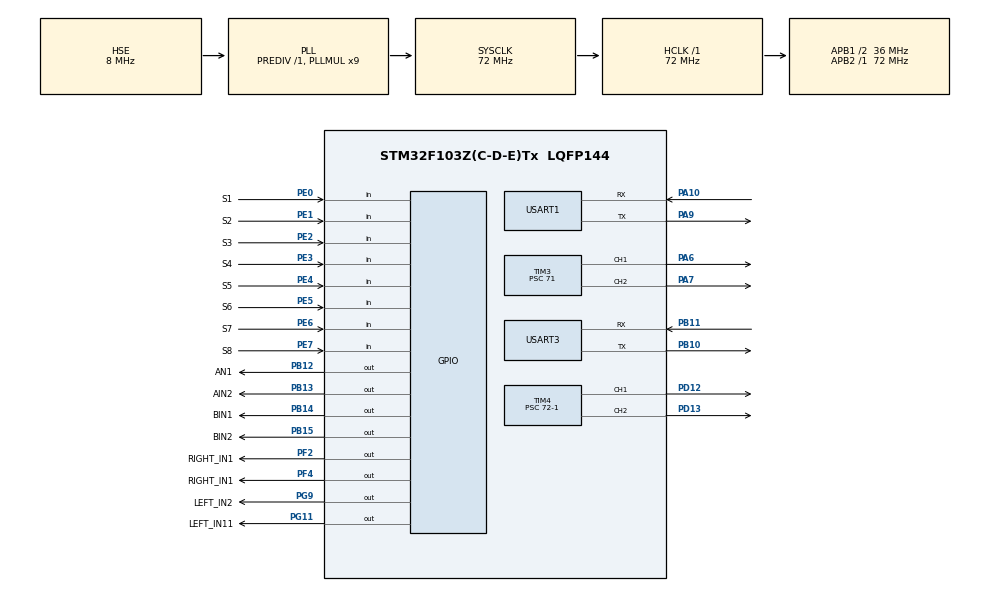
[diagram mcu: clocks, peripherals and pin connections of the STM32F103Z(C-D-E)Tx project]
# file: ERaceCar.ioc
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Dma.Request0=USART1_RX
Dma.Request1=USART1_TX
Dma.Request2=USART3_RX
Dma.USART1_RX.0.Direction=DMA_PERIPH_TO_MEMORY
Dma.USART1_RX.0.Instance=DMA1_Channel5
Dma.USART1_RX.0.MemDataAlignment=DMA_MDATAALIGN_BYTE
Dma.USART1_RX.0.MemInc=DMA_MINC_ENABLE
Dma.USART1_RX.0.Mode=DMA_NORMAL
Dma.USART1_RX.0.PeriphDataAlignment=DMA_PDATAALIGN_BYTE
Dma.USART1_RX.0.PeriphInc=DMA_PINC_DISABLE
Dma.USART1_RX.0.Priority=DMA_PRIORITY_LOW
Dma.USART1_TX.1.Direction=DMA_MEMORY_TO_PERIPH
Dma.USART1_TX.1.Instance=DMA1_Channel4
Dma.USART1_TX.1.MemDataAlignment=DMA_MDATAALIGN_BYTE
Dma.USART1_TX.1.MemInc=DMA_MINC_ENABLE
Dma.USART1_TX.1.Mode=DMA_NORMAL
Dma.USART1_TX.1.PeriphDataAlignment=DMA_PDATAALIGN_BYTE
Dma.USART1_TX.1.PeriphInc=DMA_PINC_DISABLE
Dma.USART1_TX.1.Priority=DMA_PRIORITY_LOW
Dma.USART3_RX.2.Direction=DMA_PERIPH_TO_MEMORY
Dma.USART3_RX.2.Instance=DMA1_Channel3
Dma.USART3_RX.2.MemDataAlignment=DMA_MDATAALIGN_BYTE
Dma.USART3_RX.2.MemInc=DMA_MINC_ENABLE
Dma.USART3_RX.2.Mode=DMA_CIRCULAR
Dma.USART3_RX.2.PeriphDataAlignment=DMA_PDATAALIGN_BYTE
Dma.USART3_RX.2.PeriphInc=DMA_PINC_DISABLE
Dma.USART3_RX.2.Priority=DMA_PRIORITY_LOW
FREERTOS.Tasks01=Linefollow_Task,0,128,Linefollow,Default,NULL,Dynamic,NULL,NULL
Mcu.Family=STM32F1
Mcu.Name=STM32F103Z(C-D-E)Tx
Mcu.Package=LQFP144
NVIC.DMA1_Channel3_IRQn=true\:5\:0\:false\:false\:true\:true\:false\:true\:true
NVIC.DMA1_Channel4_IRQn=true\:5\:0\:false\:false\:true\:true\:false\:true\:true
NVIC.DMA1_Channel5_IRQn=true\:5\:0\:false\:false\:true\:true\:false\:true\:true
NVIC.PriorityGroup=NVIC_PRIORITYGROUP_4
NVIC.TIM1_UP_IRQn=true\:15\:0\:false\:false\:true\:false\:false\:true\:true
NVIC.TimeBase=TIM1_UP_IRQn
NVIC.TimeBaseIP=TIM1
NVIC.USART1_IRQn=true\:5\:0\:false\:false\:true\:true\:true\:true\:true
NVIC.USART3_IRQn=true\:5\:0\:false\:false\:true\:true\:true\:true\:true
OSC_IN.Mode=HSE-External-Oscillator
OSC_IN.Signal=RCC_OSC_IN
OSC_OUT.Mode=HSE-External-Oscillator
OSC_OUT.Signal=RCC_OSC_OUT
PA10.Mode=Asynchronous
PA10.Signal=USART1_RX
PA13.Mode=Serial_Wire
PA13.Signal=SYS_JTMS-SWDIO
PA14.Mode=Serial_Wire
PA14.Signal=SYS_JTCK-SWCLK
PA6.Signal=S_TIM3_CH1
PA7.Signal=S_TIM3_CH2
PA9.Mode=Asynchronous
PA9.Signal=USART1_TX
PB10.Mode=Asynchronous
PB10.Signal=USART3_TX
PB11.Mode=Asynchronous
PB11.Signal=USART3_RX
PB12.GPIO_Label=AN1
PB12.PinState=GPIO_PIN_RESET
PB12.Signal=GPIO_Output
PB13.GPIO_Label=AIN2
PB13.Signal=GPIO_Output
PB14.GPIO_Label=BIN1
PB14.Signal=GPIO_Output
PB15.GPIO_Label=BIN2
PB15.Signal=GPIO_Output
PD12.Signal=S_TIM4_CH1
PD13.Signal=S_TIM4_CH2
PE0.GPIO_Label=S1
PE0.GPIO_PuPd=GPIO_PULLUP
PE0.Signal=GPIO_Input
PE1.GPIO_Label=S2
PE1.GPIO_PuPd=GPIO_PULLUP
PE1.Signal=GPIO_Input
PE2.GPIO_Label=S3
PE2.GPIO_PuPd=GPIO_PULLUP
PE2.Signal=GPIO_Input
PE3.GPIO_Label=S4
PE3.GPIO_PuPd=GPIO_PULLUP
PE3.Signal=GPIO_Input
PE4.GPIO_Label=S5
PE4.GPIO_PuPd=GPIO_PULLUP
PE4.Signal=GPIO_Input
PE5.GPIO_Label=S6
PE5.GPIO_PuPd=GPIO_PULLUP
PE5.Signal=GPIO_Input
PE6.GPIO_Label=S7
PE6.GPIO_PuPd=GPIO_PULLUP
PE6.Signal=GPIO_Input
PE7.GPIO_Label=S8
PE7.GPIO_PuPd=GPIO_PULLUP
PE7.Signal=GPIO_Input
PF2.GPIO_Label=RIGHT_IN1
PF2.Signal=GPIO_Output
PF4.GPIO_Label=RIGHT_IN1
PF4.Signal=GPIO_Output
PG11.GPIO_Label=LEFT_IN11
PG11.Signal=GPIO_Output
PG9.GPIO_Label=LEFT_IN2
PG9.Signal=GPIO_Output
ProjectManager.HeapSize=0x200
ProjectManager.StackSize=0x400
ProjectManager.TargetToolchain=CMake
RCC.AHBFreq_Value=72000000
RCC.APB1CLKDivider=RCC_HCLK_DIV2
RCC.APB1Freq_Value=36000000
RCC.APB1TimFreq_Value=72000000
RCC.APB2Freq_Value=72000000
RCC.APB2TimFreq_Value=72000000
RCC.HCLKFreq_Value=72000000
RCC.PLLMUL=RCC_PLL_MUL9
RCC.PLLSourceVirtual=RCC_PLLSOURCE_HSE
RCC.SYSCLKFreq_VALUE=72000000
RCC.SYSCLKSource=RCC_SYSCLKSOURCE_PLLCLK
RCC.USBFreq_Value=72000000
SH.S_TIM3_CH1.0=TIM3_CH1,PWM Generation1 CH1
SH.S_TIM3_CH2.0=TIM3_CH2,PWM Generation2 CH2
SH.S_TIM4_CH1.0=TIM4_CH1,PWM Generation1 CH1
SH.S_TIM4_CH2.0=TIM4_CH2,PWM Generation2 CH2
TIM3.Channel-PWM\ Generation1\ CH1=TIM_CHANNEL_1
TIM3.Channel-PWM\ Generation2\ CH2=TIM_CHANNEL_2
TIM3.Period=999
TIM3.Prescaler=71
TIM3.Pulse-PWM\ Generation1\ CH1=50
TIM4.Channel-PWM\ Generation1\ CH1=TIM_CHANNEL_1
TIM4.Channel-PWM\ Generation2\ CH2=TIM_CHANNEL_2
TIM4.Period=100-1
TIM4.Prescaler=72-1
USART1.VirtualMode=VM_ASYNC
USART3.VirtualMode=VM_ASYNC
VP_FREERTOS_VS_CMSIS_V1.Mode=CMSIS_V1
VP_SYS_VS_tim1.Mode=TIM1
VP_TIM3_VS_ClockSourceINT.Mode=Internal
VP_TIM4_VS_ClockSourceINT.Mode=Internal
board=custom

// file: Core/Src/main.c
/* USER CODE BEGIN Header */
/**
  ******************************************************************************
  * @file           : main.c
  * @brief          : Main program body
  ******************************************************************************
  * @attention
  *
  * Copyright (c) 2025 STMicroelectronics.
  * All rights reserved.
  *
  * This software is licensed under terms that can be found in the LICENSE file
  * in the root directory of this software component.
  * If no LICENSE file comes with this software, it is provided AS-IS.
  *
  ******************************************************************************
  */
/* USER CODE END Header */
#include "main.h"
#include "cmsis_os.h"
#include "dma.h"
#include "tim.h"
#include "usart.h"
#include "gpio.h"

/* USER CODE BEGIN Includes */
#include "pid.h"
#include "motor.h"
#include "line.h"
#include "openmv.h"
/* USER CODE END Includes */

/* USER CODE BEGIN PD */
extern PID line_pid;
extern  uint8_t screen_rx;     // 用于接收1字节
extern uint8_t screen_cmd = 0;   // 供主循环读取
/* USER CODE END PD */

void SystemClock_Config(void);
void MX_FREERTOS_Init(void);

int main(void)
{

  /* MCU Configuration--------------------------------------------------------*/

  /* Reset of all peripherals, Initializes the Flash interface and the SysTick. */
  HAL_Init();

  /* USER CODE BEGIN Init */
  MX_DMA_Init();
  MX_USART3_UART_Init();

  /* USER CODE END Init */

  /* Configure the system clock */
  SystemClock_Config();

  /* Initialize all configured peripherals */
  MX_GPIO_Init();
  MX_DMA_Init();
  MX_USART1_UART_Init();
  MX_TIM3_Init();
  MX_TIM4_Init();
  MX_USART3_UART_Init();
  /* USER CODE BEGIN 2 */
  Pwm_Init();
  Motor_Init();
  LineCtrl_Init();
  MX_USART1_UART_Init();

  HAL_UART_Receive_IT(&huart1, &screen_rx, 1);

  /* USER CODE END 2 */

  /* Call init function for freertos objects (in cmsis_os2.c) */
  MX_FREERTOS_Init();

  /* Start scheduler */
  osKernelStart();

  /* We should never get here as control is now taken by the scheduler */

  /* Infinite loop */
  /* USER CODE BEGIN WHILE */
  DMA_Start();
  // 主循环：嵌入式系统的主循环，有意设计为无限循环
  // NOLINTNEXTLINE(cppcoreguidelines-avoid-magic-numbers,readability-magic-numbers,hicpp-no-assembler)
  // for (;;)  // 有意设计的无限循环
  // {
  //   /* USER CODE END WHILE */
  //
  //   /* USER CODE BEGIN 3 */
  // }
  /* USER CODE END 3 */
}

void SystemClock_Config(void)
{
  RCC_OscInitTypeDef RCC_OscInitStruct = {0};
  RCC_ClkInitTypeDef RCC_ClkInitStruct = {0};

  /** Initializes the RCC Oscillators according to the specified parameters
  * in the RCC_OscInitTypeDef structure.
  */
  RCC_OscInitStruct.OscillatorType = RCC_OSCILLATORTYPE_HSE;
  RCC_OscInitStruct.HSEState = RCC_HSE_ON;
  RCC_OscInitStruct.HSEPredivValue = RCC_HSE_PREDIV_DIV1;
  RCC_OscInitStruct.HSIState = RCC_HSI_ON;
  RCC_OscInitStruct.PLL.PLLState = RCC_PLL_ON;
  RCC_OscInitStruct.PLL.PLLSource = RCC_PLLSOURCE_HSE;
  RCC_OscInitStruct.PLL.PLLMUL = RCC_PLL_MUL9;
  if (HAL_RCC_OscConfig(&RCC_OscInitStruct) != HAL_OK)
  {
    Error_Handler();
  }

  /** Initializes the CPU, AHB and APB buses clocks
  */
  RCC_ClkInitStruct.ClockType = RCC_CLOCKTYPE_HCLK|RCC_CLOCKTYPE_SYSCLK
                              |RCC_CLOCKTYPE_PCLK1|RCC_CLOCKTYPE_PCLK2;
  RCC_ClkInitStruct.SYSCLKSource = RCC_SYSCLKSOURCE_PLLCLK;
  RCC_ClkInitStruct.AHBCLKDivider = RCC_SYSCLK_DIV1;
  RCC_ClkInitStruct.APB1CLKDivider = RCC_HCLK_DIV2;
  RCC_ClkInitStruct.APB2CLKDivider = RCC_HCLK_DIV1;

  if (HAL_RCC_ClockConfig(&RCC_ClkInitStruct, FLASH_LATENCY_2) != HAL_OK)
  {
    Error_Handler();
  }
}

void HAL_TIM_PeriodElapsedCallback(TIM_HandleTypeDef *htim)
{
  if (htim->Instance == TIM1)
  {
    HAL_IncTick();
  }
}

void Error_Handler(void)
{
  /* USER CODE BEGIN Error_Handler_Debug */
  /* User can add his own implementation to report the HAL error return state */
  __disable_irq();
  // 错误处理：进入死循环，这是错误处理的标准做法
  // NOLINTNEXTLINE(cppcoreguidelines-avoid-magic-numbers,readability-magic-numbers,hicpp-no-assembler)
  // for (;;)  // 有意设计的错误处理死循环
  // {
  // }
  /* USER CODE END Error_Handler_Debug */
}

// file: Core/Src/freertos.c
/* USER CODE BEGIN Header */
/**
  ******************************************************************************
  * File Name          : freertos.c
  * Description        : Code for freertos applications
  ******************************************************************************
  * @attention
  *
  * Copyright (c) 2025 STMicroelectronics.
  * All rights reserved.
  *
  * This software is licensed under terms that can be found in the LICENSE file
  * in the root directory of this software component.
  * If no LICENSE file comes with this software, it is provided AS-IS.
  *
  ******************************************************************************
  */
/* USER CODE END Header */

#include "FreeRTOS.h"
#include "task.h"
#include "main.h"
#include "cmsis_os.h"

/* USER CODE BEGIN Includes */
#include "chassic.h"
/* USER CODE END Includes */

/* USER CODE BEGIN Variables */
osThreadId chassicTaskHandle;
/* USER CODE END Variables */
osThreadId Linefollow_TaskHandle;

void Linefollow(void const * argument);

void MX_FREERTOS_Init(void); /* (MISRA C 2004 rule 8.1) */

/* GetIdleTaskMemory prototype (linked to static allocation support) */
void vApplicationGetIdleTaskMemory( StaticTask_t **ppxIdleTaskTCBBuffer, StackType_t **ppxIdleTaskStackBuffer, uint32_t *pulIdleTaskStackSize );

/* USER CODE BEGIN GET_IDLE_TASK_MEMORY */
static StaticTask_t xIdleTaskTCBBuffer;
static StackType_t xIdleStack[configMINIMAL_STACK_SIZE];

void vApplicationGetIdleTaskMemory( StaticTask_t **ppxIdleTaskTCBBuffer, StackType_t **ppxIdleTaskStackBuffer, uint32_t *pulIdleTaskStackSize )
{
  *ppxIdleTaskTCBBuffer = &xIdleTaskTCBBuffer;
  *ppxIdleTaskStackBuffer = &xIdleStack[0];
  *pulIdleTaskStackSize = configMINIMAL_STACK_SIZE;
  /* place for user code */
}
/* USER CODE END GET_IDLE_TASK_MEMORY */

void MX_FREERTOS_Init(void) {

  /* Create the thread(s) */
  /* definition and creation of Linefollow_Task */
  osThreadDef(Linefollow_Task, Linefollow, osPriorityNormal, 0, 128);
  Linefollow_TaskHandle = osThreadCreate(osThread(Linefollow_Task), NULL);

  /* USER CODE BEGIN RTOS_THREADS */
  osThreadDef(chassicTask,StartChassicTask,osPriorityAboveNormal,0,256);
  chassicTaskHandle = osThreadCreate(osThread(chassicTask), NULL);
  /* USER CODE END RTOS_THREADS */

}

void Linefollow(void const * argument)
{
  for(;;)
  {
    osDelay(1);
  }
}
